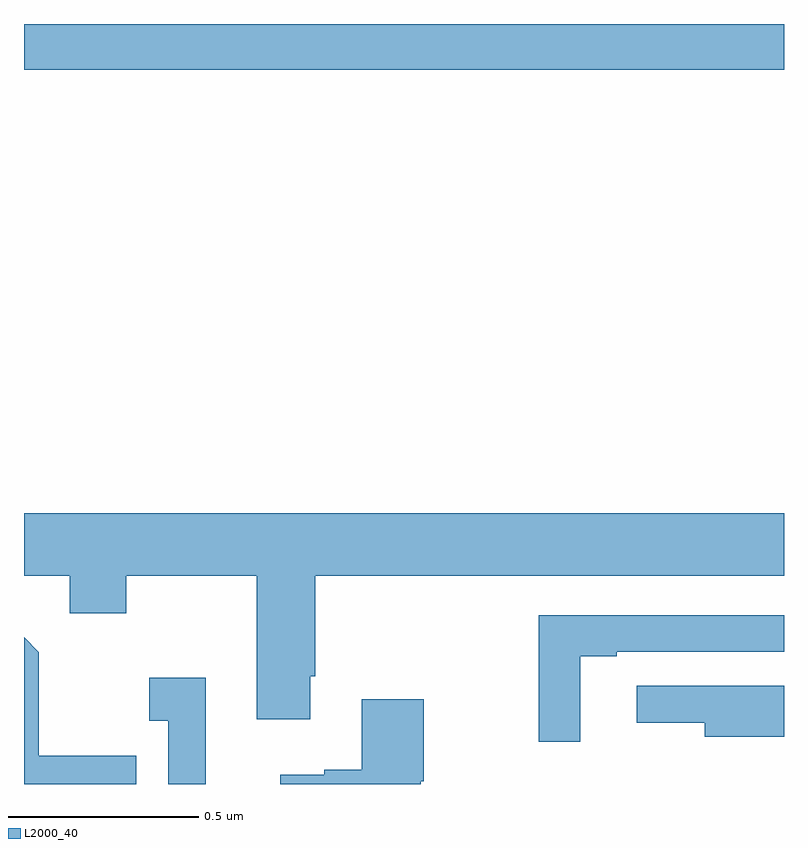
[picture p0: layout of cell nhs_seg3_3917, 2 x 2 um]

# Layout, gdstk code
import gdstk
lib = gdstk.Library(unit=1e-6, precision=1e-09)
def R(c, l, rs):  # rectangles x0, y0, x1, y1
    for r in rs: c.add(gdstk.rectangle(r[:2], r[2:], *l))
def P(c, l, *ps):  # polygons
    for p in ps: c.add(gdstk.Polygon(p, *l))
L2000_40 = (2000, 40)

nhs_seg3_3917 = lib.new_cell('nhs_seg3_3917')
R(nhs_seg3_3917, L2000_40, [(160,670.28,162,670.4)])
P(nhs_seg3_3917, L2000_40, [(160.753,668.683),(160.766,668.683),(160.766,668.948),(162,668.948),(162,669.112),(160,669.112),(160,668.948),(160.121,668.948),(160.121,668.849),(160.269,668.849),(160.269,668.948),(160.613,668.948),(160.613,668.571),(160.753,668.571)],
  [(161.464,668.736),(161.56,668.736),(161.56,668.748),(162,668.748),(162,668.844),(161.355,668.844),(161.355,668.511),(161.464,668.511)],
  [(160.295,668.475),(160.039,668.475),(160.039,668.747),(160,668.786),(160,668.4),(160.295,668.4)],
  [(160.478,668.68),(160.329,668.68),(160.329,668.567),(160.38,668.567),(160.38,668.4),(160.478,668.4)],
  [(162,668.659),(161.896,668.659),(161.896,668.658),(161.613,668.658),(161.613,668.561),(161.792,668.561),(161.792,668.525),(162,668.525)],
  [(161.044,668.407),(161.052,668.407),(161.052,668.623),(160.889,668.623),(160.889,668.438),(160.79,668.438),(160.79,668.425),(160.674,668.425),(160.674,668.4),(161.044,668.4)])

lib.write_gds('nhs_seg3_3917.gds')
